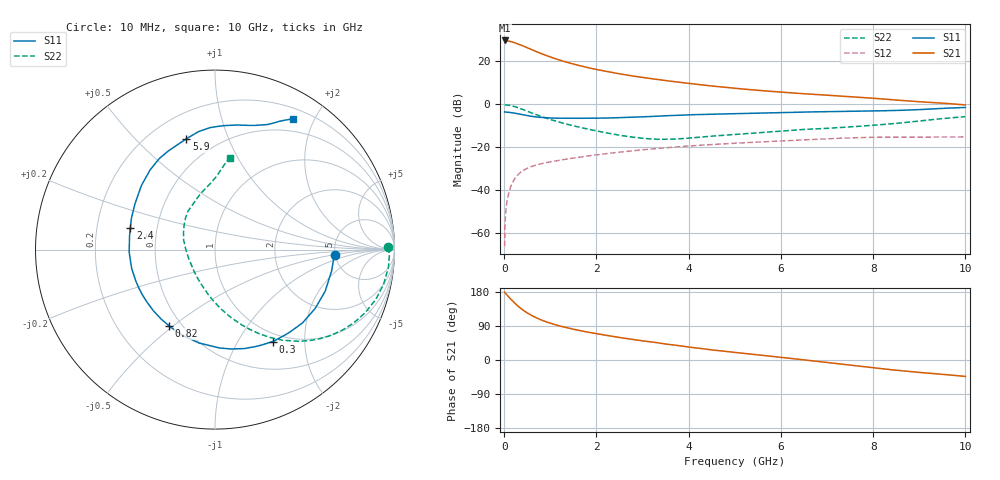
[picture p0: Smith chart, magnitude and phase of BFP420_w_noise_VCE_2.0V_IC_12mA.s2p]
! Infineon Technologies  Discrete & RF Semiconductors
! BFP420
! VCE =  2.0 V,  IC =  12 mA
! Common Emitter S-Parameters:  Jan 2016
# GHz  S  MA  R  50
!  f  S11  S21  S12  S22
! GHz  MAG  ANG  MAG  ANG  MAG  ANG  MAG  ANG
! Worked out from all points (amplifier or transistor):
!   233 points, 10 MHz to 10 GHz, reference 50 ohm
!   highest |S21| = 29.8 dB at 10 MHz (marker M1)
!   |S21| within 3 dB of that: start of sweep to 458 MHz
!   unconditionally stable (mu >= 1): start of sweep to 10.2 MHz; 2.185 GHz to end of sweep
!   at 200 MHz: K = 0.16, MSG = 32.3 dB, |S12| = -35.7 dB
!   at 1.74 GHz: K = 0.89, MSG = 20.9 dB, |S12| = -24.3 dB
!   at 10 GHz: K = 1.08, MAG = 5.7 dB, |S12| = -15.1 dB
!   lowest NFmin = 0.95 dB at 900 MHz
!   S11 on the Smith chart (normalised r, x): 10 MHz: 4.94, -0.58; 300 MHz: 0.88, -1.42; 820 MHz: 0.43, -0.48; 2.4 GHz: 0.35, +0.11; 5.9 GHz: 0.34, +0.72; 10 GHz: 0.33, +1.71
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0.01  0.6673 -2.8  30.82 179.2  0.0005 106.4  0.9651 0.8
0.02  0.6636 -4.0  30.14 177.2  0.0018 89.0  0.9721 -2.1
0.04  0.6606 -8.2  30.07 174.4  0.0036 85.8  0.9713 -4.5
0.1  0.6564 -20.6  29.72 166.3  0.0086 81.2  0.9592 -11.6
0.15  0.6473 -30.4  28.96 159.7  0.0128 76.8  0.9375 -17.3
0.24  0.6216 -47.1  27.01 148.8  0.0193 69.9  0.8821 -26.6
0.3  0.6051 -57.8  25.68 142.2  0.0231 65.9  0.8398 -32.3
0.38  0.5795 -70.4  23.69 134.4  0.0274 61.3  0.7798 -38.9
0.45  0.5611 -80.7  22.01 128.2  0.0306 58.1  0.7291 -44.1
0.6  0.5281 -99.6  18.74 117.1  0.036 52.9  0.6298 -53.3
0.7  0.5116 -110.3  16.88 111.1  0.0389 50.6  0.5736 -58.3
0.82  0.4956 -121.1  14.98 104.9  0.0419 48.5  0.5162 -63.4
1  0.4837 -135.3  12.7 97.1  0.046 46.6  0.4456 -70.4
1.2  0.4772 -147.7  10.77 89.9  0.0502 45.2  0.3848 -77.2
1.68  0.4751 -170.3  7.777 76.7  0.0601 43.1  0.2862 -91.7
2.4  0.4871 165.6  5.377 61.4  0.0753 39.6  0.2001 -114.8
3.4  0.5362 141.1  3.705 44.1  0.0956 33.1  0.1542 -157.3
5.1  0.6099 114.2  2.318 18.7  0.1263 19.9  0.203 149.5
5.9  0.6377 104.5  1.968 8.4  0.1392 13.7  0.2356 134.8
6.8  0.6727 94.6  1.688 -3.7  0.1546 5.9  0.27 120.5
8.4  0.7177 74.6  1.286 -25.8  0.1719 -11.0  0.3532 96.9
10  0.8486 59.2  0.972 -43.3  0.1756 -22.6  0.5184 80.9
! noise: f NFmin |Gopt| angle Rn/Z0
0.9  0.95  0.03  -151  0.13
1.8  1.27  0.13  -152  0.12
2.4  1.38  0.13  -160  0.14
3  1.43  0.22  -145  0.13
4  1.58  0.35  -123  0.17
5  2.03  0.43  -103  0.28
6  2.4  0.47  -91  0.43
